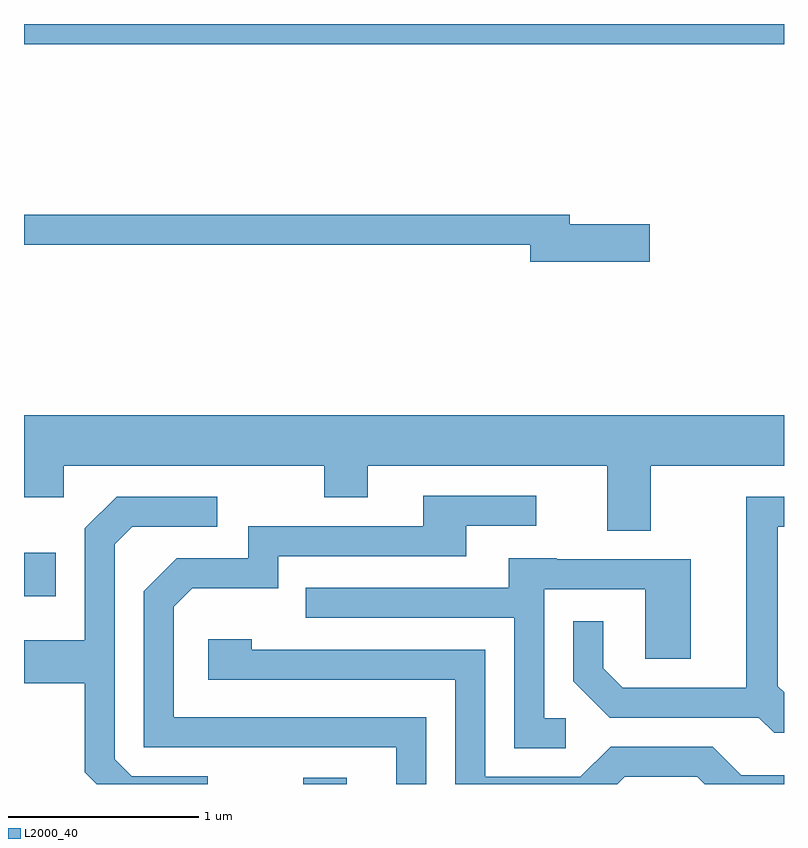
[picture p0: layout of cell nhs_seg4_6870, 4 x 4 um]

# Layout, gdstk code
import gdstk
lib = gdstk.Library(unit=1e-6, precision=1e-09)
def R(c, l, rs):  # rectangles x0, y0, x1, y1
    for r in rs: c.add(gdstk.rectangle(r[:2], r[2:], *l))
def P(c, l, *ps):  # polygons
    for p in ps: c.add(gdstk.Polygon(p, *l))
L2000_40 = (2000, 40)

nhs_seg4_6870 = lib.new_cell('nhs_seg4_6870')
R(nhs_seg4_6870, L2000_40, [(389.081,1261.982,389.309,1262.014), (387.611,1262.971,387.779,1263.199), (387.611,1265.876,391.611,1265.982)])
P(nhs_seg4_6870, L2000_40, [(390.904,1264.929),(390.484,1264.929),(390.484,1264.979),(387.611,1264.979),(387.611,1264.821),(390.276,1264.821),(390.276,1264.731),(390.904,1264.731)],
  [(390.909,1263.656),(391.611,1263.656),(391.611,1263.924),(387.611,1263.924),(387.611,1263.491),(387.819,1263.491),(387.819,1263.656),(389.191,1263.656),(389.191,1263.491),(389.419,1263.491),(389.419,1263.656),(390.681,1263.656),(390.681,1263.316),(390.909,1263.316)],
  [(389.729,1262.334),(388.399,1262.334),(388.399,1262.914),(388.497,1263.011),(388.949,1263.011),(388.949,1263.181),(389.939,1263.181),(389.939,1263.341),(390.308,1263.341),(390.308,1263.499),(389.711,1263.499),(389.711,1263.339),(388.791,1263.339),(388.791,1263.169),(388.414,1263.169),(388.241,1262.997),(388.241,1262.176),(389.571,1262.176),(389.571,1261.982),(389.729,1261.982)],
  [(388.578,1262.024),(388.177,1262.024),(388.089,1262.112),(388.089,1263.244),(388.182,1263.336),(388.628,1263.336),(388.628,1263.494),(388.099,1263.494),(387.931,1263.327),(387.931,1262.739),(387.611,1262.739),(387.611,1262.511),(387.931,1262.511),(387.931,1262.044),(387.993,1261.982),(388.578,1261.982)],
  [(391.611,1262.465),(391.579,1262.497),(391.579,1263.336),(391.611,1263.336),(391.611,1263.494),(391.411,1263.494),(391.411,1262.489),(390.762,1262.489),(390.659,1262.592),(390.659,1262.838),(390.501,1262.838),(390.501,1262.524),(390.694,1262.331),(391.479,1262.331),(391.559,1262.251),(391.611,1262.251)],
  [(390.463,1262.329),(390.349,1262.329),(390.349,1263.006),(390.881,1263.006),(390.881,1262.641),(391.119,1262.641),(391.119,1263.164),(390.415,1263.164),(390.415,1263.169),(390.161,1263.169),(390.161,1263.014),(389.093,1263.014),(389.093,1262.856),(390.191,1262.856),(390.191,1262.171),(390.463,1262.171)],
  [(390.772,1262.021),(391.154,1262.021),(391.193,1261.982),(391.611,1261.982),(391.611,1262.029),(391.387,1262.029),(391.237,1262.179),(390.699,1262.179),(390.539,1262.019),(390.039,1262.019),(390.039,1262.689),(388.809,1262.689),(388.809,1262.744),(388.581,1262.744),(388.581,1262.531),(389.881,1262.531),(389.881,1261.982),(390.733,1261.982)])

lib.write_gds('nhs_seg4_6870.gds')
